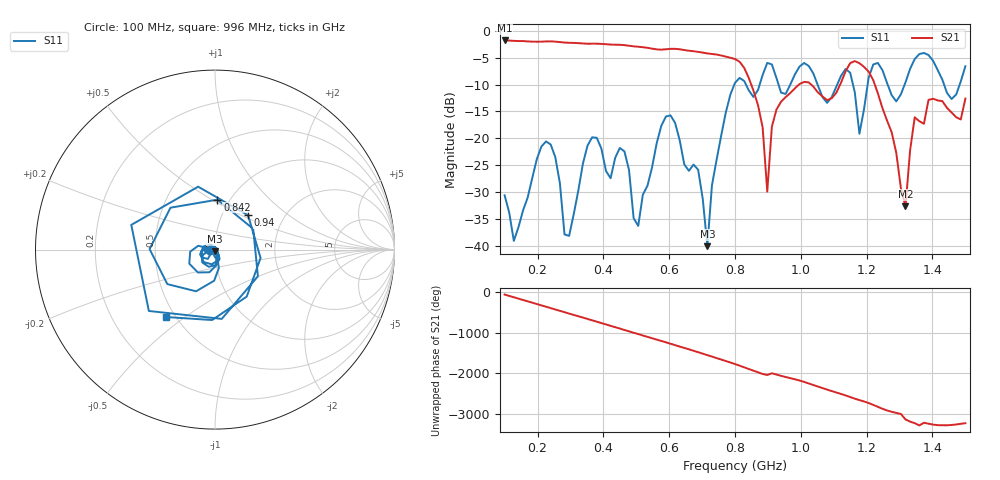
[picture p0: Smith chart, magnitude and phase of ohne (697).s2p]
! NanoVNA-App
! Date: 2025-09-25 14:26:13
! Start: 100MHz Stop: 1,5GHz Points: 101
! S-Parameter data: F S11 S21 S12 S22
# Hz S RI R 50
!  Frequency  S11_Real  S11_Imag  S21_Real  S21_Imag  S12_Real  S12_Imag  S22_Real  S22_Imag
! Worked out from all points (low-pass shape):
!   101 points, 100 MHz to 1.5 GHz, reference 50 ohm
!   highest |S21| = -1.79 dB at 100 MHz (marker M1); lowest = -32.7 dB at 1.318 GHz (marker M2)
!   |S21| within 3 dB of the highest: start of sweep to 771.4 MHz
!   lowest |S11| = -40.1 dB at 716 MHz (marker M3), VSWR 1.02, Z = 49.8 - j0.961 ohm
!   |S11| at or under -10 dB: start of sweep to 798 MHz; 833.2 MHz to 875.1 MHz (41.9 MHz wide, 4.91 % of centre); 1.051 GHz to 1.111 GHz (59.97 MHz wide, 5.55 % of centre)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
!   S12 and S22 are empty: the file has one direction only
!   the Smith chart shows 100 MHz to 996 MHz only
!   S11 on the Smith chart (normalised r, x): 100 MHz: 0.94, -0.01; 842 MHz: 0.88, +0.53; 940 MHz: 1.32, +0.55; 996 MHz: 0.44, -0.43
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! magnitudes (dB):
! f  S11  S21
! 100 MHz  -30.6  -1.8
! 128 MHz  -39.1  -1.9
! 226 MHz  -20.6  -2.0
! 296 MHz  -38.2  -2.2
! 338 MHz  -24.7  -2.4
! 464 MHz  -22.5  -2.7
! 506 MHz  -36.3  -3.0
! 576 MHz  -17.7  -3.5
! 688 MHz  -25.9  -3.9
! 716 MHz  -40.1  -4.2
! 800 MHz  -9.7  -5.3
! 842 MHz  -11.1  -8.8
! 898 MHz  -6.0  -29.9
! 940 MHz  -11.5  -13.2
! 996 MHz  -6.7  -9.9
! 1.038 GHz  -7.9  -10.4
! 1.178 GHz  -19.2  -6.0
! 1.22 GHz  -6.3  -9.2
! 1.276 GHz  -12.0  -18.9
! 1.318 GHz  -9.6  -32.7
! 1.346 GHz  -5.3  -16.1
! 1.5 GHz  -6.6  -12.6
